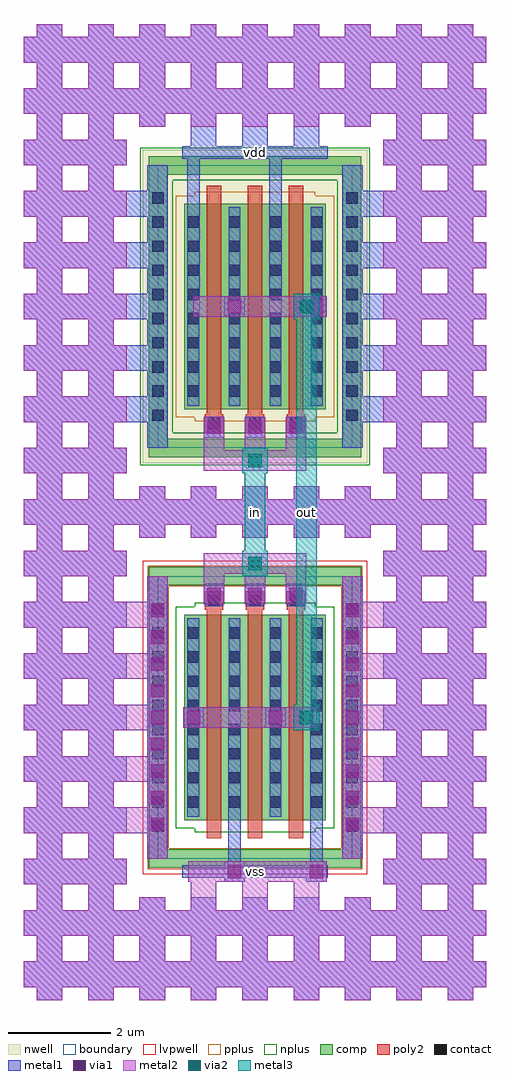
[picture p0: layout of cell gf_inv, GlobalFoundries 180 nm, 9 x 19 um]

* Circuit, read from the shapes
.subckt gf_inv in out vdd vss
XM1 vss in out vss nfet_03v3 w=4u l=0.28u m=3
XM2 out in vdd vdd pfet_03v3 w=4u l=0.28u m=3
.ends

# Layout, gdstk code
from math import pi, radians
import gdstk
lib = gdstk.Library(unit=1e-6, precision=1e-09)
def R(c, l, rs):  # rectangles x0, y0, x1, y1
    for r in rs: c.add(gdstk.rectangle(r[:2], r[2:], *l))
def A(c, l, x, y, w, h, nx, ny, dx, dy):  # array of equal rectangles
    R(c, l, [(x+i*dx, y+j*dy, x+i*dx+w, y+j*dy+h) for i in range(nx) for j in range(ny)])
boundary = (0, 0)
nwell = (21, 0)
comp = (22, 0)
poly2 = (30, 0)
pplus = (31, 0)
nplus = (32, 0)
contact = (33, 0)
metal1 = (34, 0)
via1 = (35, 0)
metal2 = (36, 0)
via2 = (38, 0)
metal3 = (42, 0)
lvpwell = (204, 0)

xm2 = lib.new_cell('XM2')
R(xm2, boundary, [(-1.89,-2.75,1.89,2.75)])
R(xm2, comp, [(-2.07,-2.93,2.07,-2.57), (-2.07,-2.57,-1.71,2.57), (1.71,-2.57,2.07,2.57), (-1.38,-2,1.38,2), (-2.07,2.57,2.07,2.93)])
A(xm2, poly2, -0.94, -2.35, 0.28, 4.45, 3, 1, 0.8, 0)
A(xm2, poly2, -0.98, 2.1, 0.36, 0.36, 3, 1, 0.8, 0)
R(xm2, pplus, [(-2.09,-2.95,2.09,-2.55), (-2.09,-2.55,-1.68,-2.445), (1.68,-2.55,2.09,-2.445), (-2.1,-2.445,-1.68,2.445), (1.68,-2.445,2.1,2.445), (-2.09,2.445,-1.68,2.55), (1.68,2.445,2.09,2.55), (-2.09,2.55,2.09,2.95)])
R(xm2, nplus, [(-1.17,-2.23,1.17,-2.16), (-1.54,-2.16,1.54,2.16), (-1.17,2.16,1.17,2.23)])
A(xm2, contact, -2, -2.225, 0.22, 0.22, 1, 10, 0, 0.47)
A(xm2, contact, 1.78, -2.225, 0.22, 0.22, 1, 10, 0, 0.47)
A(xm2, contact, -1.31, -1.755, 0.22, 0.22, 4, 8, 0.8, 0.47)
A(xm2, contact, -0.91, 2.17, 0.22, 0.22, 3, 1, 0.8, 0)
A(xm2, metal1, -1.315, -1.935, 0.23, 3.87, 4, 1, 0.8, 0)
A(xm2, metal1, -0.97, 2.165, 0.34, 0.23, 3, 1, 0.8, 0)
R(xm2, metal1, [(-2.005,-2.35,-1.775,2.35), (1.775,-2.35,2.005,2.35)])
R(xm2, lvpwell, [(-2.19,-3.05,2.19,3.05)])
xm2.add(gdstk.Label('D', (-0.24,-0.005), layer=34, texttype=0))
xm2.add(gdstk.Label('G', (-0.16,0.455), layer=34, texttype=0))
xm2.add(gdstk.Label('S', (-0.08,-0.005), layer=34, texttype=0))
xm2.add(gdstk.Label('G', (0,0.455), layer=34, texttype=0))
xm2.add(gdstk.Label('D', (0.08,-0.005), layer=34, texttype=0))
xm2.add(gdstk.Label('G', (0.16,0.455), layer=34, texttype=0))
xm2.add(gdstk.Label('S', (0.24,-0.005), layer=34, texttype=0))

xm1 = lib.new_cell('XM1')
R(xm1, boundary, [(-1.89,-2.75,1.89,2.75)])
R(xm1, nwell, [(-2.19,-3.05,2.19,3.05)])
R(xm1, comp, [(-2.07,-2.93,2.07,-2.57), (-2.07,-2.57,-1.71,2.57), (1.71,-2.57,2.07,2.57), (-1.38,-2,1.38,2), (-2.07,2.57,2.07,2.93)])
A(xm1, poly2, -0.94, -2.35, 0.28, 4.45, 3, 1, 0.8, 0)
A(xm1, poly2, -0.98, 2.1, 0.36, 0.36, 3, 1, 0.8, 0)
R(xm1, pplus, [(-1.17,-2.23,1.17,-2.16), (-1.54,-2.16,1.54,2.16), (-1.17,2.16,1.17,2.23)])
R(xm1, nplus, [(-2.23,-3.09,2.23,-2.46), (-2.23,-2.46,-1.6,2.46), (1.6,-2.46,2.23,2.46), (-2.23,2.46,2.23,3.09)])
A(xm1, contact, -2, -2.225, 0.22, 0.22, 1, 10, 0, 0.47)
A(xm1, contact, 1.78, -2.225, 0.22, 0.22, 1, 10, 0, 0.47)
A(xm1, contact, -1.31, -1.755, 0.22, 0.22, 4, 8, 0.8, 0.47)
A(xm1, contact, -0.91, 2.17, 0.22, 0.22, 3, 1, 0.8, 0)
A(xm1, metal1, -1.315, -1.935, 0.23, 3.87, 4, 1, 0.8, 0)
A(xm1, metal1, -0.97, 2.165, 0.34, 0.23, 3, 1, 0.8, 0)
R(xm1, metal1, [(-2.005,-2.35,-1.775,2.35), (1.775,-2.35,2.005,2.35)])
xm1.add(gdstk.Label('D', (-0.24,-0.005), layer=34, texttype=0))
xm1.add(gdstk.Label('G', (-0.16,0.455), layer=34, texttype=0))
xm1.add(gdstk.Label('S', (-0.08,-0.005), layer=34, texttype=0))
xm1.add(gdstk.Label('G', (0,0.455), layer=34, texttype=0))
xm1.add(gdstk.Label('D', (0.08,-0.005), layer=34, texttype=0))
xm1.add(gdstk.Label('G', (0.16,0.455), layer=34, texttype=0))
xm1.add(gdstk.Label('S', (0.24,-0.005), layer=34, texttype=0))

gf_inv = lib.new_cell('gf_inv')
A(gf_inv, metal1, -0.75, -1, 0.5, 0.25, 9, 2, 1, 18.75)
A(gf_inv, metal1, -0.75, -0.25, 0.5, 0.5, 9, 2, 1, 17)
A(gf_inv, metal1, -1, 0.25, 9, 0.5, 1, 3, 0, 8)
A(gf_inv, metal1, -0.75, 0.75, 0.5, 0.5, 1, 16, 0, 1)
A(gf_inv, metal1, 0.25, 0.75, 0.5, 0.5, 1, 16, 0, 1)
A(gf_inv, metal1, 1.25, 0.75, 0.5, 0.25, 5, 2, 1, 7.25)
A(gf_inv, metal1, 6.25, 0.75, 0.5, 0.5, 1, 16, 0, 1)
A(gf_inv, metal1, 7.25, 0.75, 0.5, 0.5, 1, 16, 0, 1)
A(gf_inv, metal1, -1, 1.25, 2, 0.5, 1, 7, 0, 1)
A(gf_inv, metal1, 6, 1.25, 2, 0.5, 1, 7, 0, 1)
A(gf_inv, metal1, 2.5, 6.7, 0.4, 0.4, 3, 2, 0.8, 3.25)
A(gf_inv, metal1, 1.25, 8.75, 0.5, 0.25, 5, 1, 1, 0)
A(gf_inv, metal1, 1.4, 9.75, 0.4, 0.5, 1, 6, 0, 1)
A(gf_inv, metal1, 5.2, 9.75, 0.4, 0.5, 1, 6, 0, 1)
A(gf_inv, metal1, -1, 10.25, 2.8, 0.5, 1, 5, 0, 1)
A(gf_inv, metal1, 5.2, 10.25, 2.8, 0.5, 1, 5, 0, 1)
A(gf_inv, metal1, 2.25, 15.62, 0.5, 0.63, 3, 1, 1, 0)
R(gf_inv, metal1, [(-1,-0.75,8,-0.25), (2.9,1.3,3.3,1.38), (4.5,1.3,4.9,1.38), (2.08,1.38,4.92,1.62), (2.9,1.62,3.3,1.7), (4.5,1.62,4.9,1.7), (2.98,1.7,3.22,4.57), (4.58,1.7,4.82,4.57), (1.4,1.75,1.8,7.25), (5.2,1.75,5.6,7.25), (2.1,4.3,2.5,4.7), (3.7,4.3,4.1,4.7), (-1,9.25,1,9.75), (6,9.25,8,9.75), (2.9,12.3,3.3,12.7), (4.5,12.3,4.9,12.7), (2.18,12.43,2.42,15.38), (3.78,12.43,4.02,15.38), (-1,15.25,1,15.75), (6,15.25,8,15.75), (2.08,15.38,4.92,15.62), (1.25,16,1.75,16.25), (5.25,16,5.75,16.25), (-1,17.25,8,17.75)])
A(gf_inv, via1, 1.47, 2.29, 0.26, 0.26, 1, 9, 0, 0.52)
A(gf_inv, via1, 5.27, 2.29, 0.26, 0.26, 1, 9, 0, 0.52)
A(gf_inv, via1, 2.57, 6.77, 0.26, 0.26, 3, 2, 0.8, 3.25)
R(gf_inv, via1, [(2.97,1.37,3.23,1.63), (4.57,1.37,4.83,1.63), (2.17,4.37,2.43,4.63), (3.77,4.37,4.03,4.63), (2.97,12.37,3.23,12.63), (4.57,12.37,4.83,12.63)])
A(gf_inv, metal2, -0.75, -1, 0.5, 0.25, 9, 2, 1, 18.75)
A(gf_inv, metal2, -0.75, -0.25, 0.5, 0.5, 9, 2, 1, 17)
A(gf_inv, metal2, -1, 0.25, 9, 0.5, 1, 3, 0, 8)
A(gf_inv, metal2, -0.75, 0.75, 0.5, 0.5, 1, 16, 0, 1)
A(gf_inv, metal2, 0.25, 0.75, 0.5, 0.5, 1, 16, 0, 1)
A(gf_inv, metal2, 2.25, 0.75, 0.5, 0.55, 3, 1, 1, 0)
A(gf_inv, metal2, 6.25, 0.75, 0.5, 0.5, 1, 16, 0, 1)
A(gf_inv, metal2, 7.25, 0.75, 0.5, 0.5, 1, 16, 0, 1)
A(gf_inv, metal2, 1.4, 1.75, 0.4, 0.5, 1, 6, 0, 1)
A(gf_inv, metal2, 5.2, 1.75, 0.4, 0.5, 1, 6, 0, 1)
A(gf_inv, metal2, -1, 2.25, 2.8, 0.5, 1, 5, 0, 1)
A(gf_inv, metal2, 5.2, 2.25, 2.8, 0.5, 1, 5, 0, 1)
A(gf_inv, metal2, 2.5, 6.7, 0.4, 0.6, 3, 1, 0.8, 0)
A(gf_inv, metal2, 1.25, 8, 0.5, 0.25, 5, 2, 1, 0.75)
A(gf_inv, metal2, -1, 9.25, 2, 0.5, 1, 7, 0, 1)
A(gf_inv, metal2, 6, 9.25, 2, 0.5, 1, 7, 0, 1)
A(gf_inv, metal2, 2.5, 9.7, 0.4, 0.65, 3, 1, 0.8, 0)
A(gf_inv, metal2, 1.25, 16, 0.5, 0.25, 5, 1, 1, 0)
R(gf_inv, metal2, [(-1,-0.75,8,-0.25), (1.25,0.75,1.75,1), (5.25,0.75,5.75,1), (-1,1.25,1,1.75), (6,1.25,8,1.75), (2.2,1.3,4.9,1.7), (2.1,4.3,4.7,4.7), (-1,7.25,1,7.75), (6,7.25,8,7.75), (2.5,7.3,4.5,7.7), (2.5,9.3,4.5,9.7), (2.3,12.3,4.9,12.7), (-1,17.25,8,17.75)])
R(gf_inv, via2, [(4.37,4.37,4.63,4.63), (3.37,7.37,3.63,7.63), (3.37,9.37,3.63,9.63), (4.37,12.37,4.63,12.63)])
R(gf_inv, metal3, [(4.25,4.25,4.75,4.75), (4.3,4.75,4.7,12.25), (3.25,7.25,3.75,7.75), (3.3,7.75,3.7,9.25), (3.25,9.25,3.75,9.75), (4.25,12.25,4.75,12.75)])
gf_inv.add(gdstk.Reference(xm2, (3.5,4.5)))
gf_inv.add(gdstk.Reference(xm1, (3.5,12.5), rotation=pi))
gf_inv.add(gdstk.Label('vdd', (3.5,15.5), layer=34, texttype=0))
gf_inv.add(gdstk.Label('vss', (3.5,1.5), layer=36, texttype=0))
gf_inv.add(gdstk.Label('out', (4.5,8.5), layer=42, texttype=0))
gf_inv.add(gdstk.Label('in', (3.5,8.5), layer=42, texttype=0))

lib.write_gds('gf_inv.gds')
